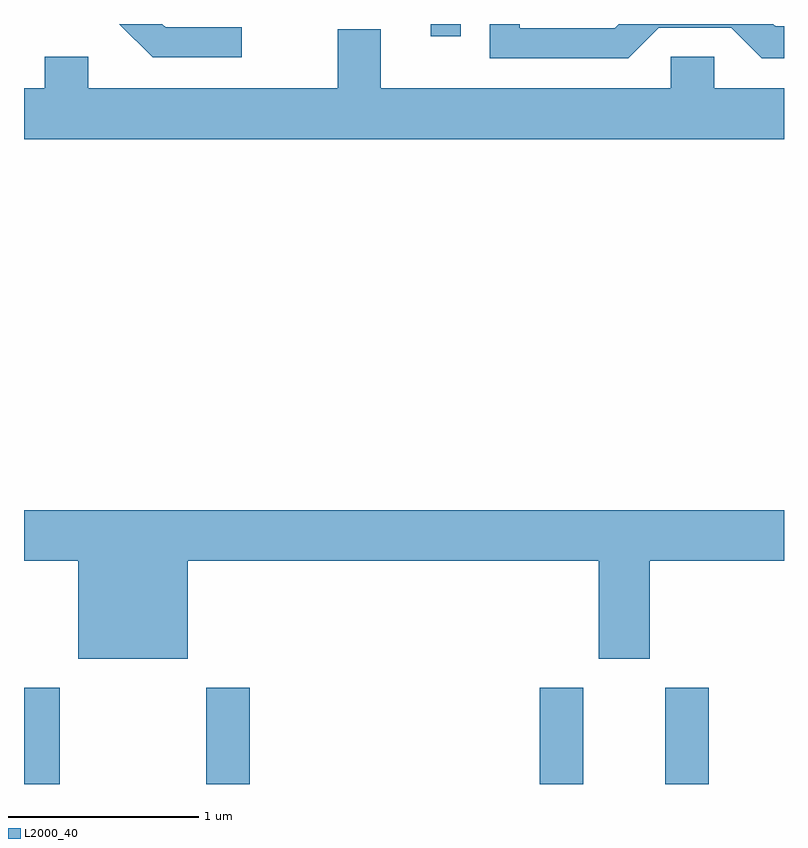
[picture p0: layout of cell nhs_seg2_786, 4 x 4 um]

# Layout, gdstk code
import gdstk
lib = gdstk.Library(unit=1e-6, precision=1e-09)
def R(c, l, rs):  # rectangles x0, y0, x1, y1
    for r in rs: c.add(gdstk.rectangle(r[:2], r[2:], *l))
def P(c, l, *ps):  # polygons
    for p in ps: c.add(gdstk.Polygon(p, *l))
L2000_40 = (2000, 40)

nhs_seg2_786 = lib.new_cell('nhs_seg2_786')
R(nhs_seg2_786, L2000_40, [(207.611,1053.802,207.799,1054.309), (208.571,1053.802,208.799,1054.309), (210.326,1053.802,210.554,1054.309), (210.986,1053.802,211.214,1054.309), (209.751,1057.738,209.909,1057.802)])
P(nhs_seg2_786, L2000_40, [(210.952,1057.781),(211.334,1057.781),(211.494,1057.621),(211.611,1057.621),(211.611,1057.789),(211.567,1057.789),(211.554,1057.802),(210.742,1057.802),(210.719,1057.779),(210.219,1057.779),(210.219,1057.802),(210.061,1057.802),(210.061,1057.621),(210.792,1057.621)],
  [(208.758,1057.784),(208.357,1057.784),(208.339,1057.802),(208.113,1057.802),(208.289,1057.626),(208.758,1057.626)],
  [(211.611,1057.464),(211.244,1057.464),(211.244,1057.629),(211.016,1057.629),(211.016,1057.464),(209.489,1057.464),(209.489,1057.774),(209.261,1057.774),(209.261,1057.464),(207.949,1057.464),(207.949,1057.629),(207.721,1057.629),(207.721,1057.464),(207.611,1057.464),(207.611,1057.196),(211.611,1057.196)],
  [(208.474,1054.976),(210.636,1054.976),(210.636,1054.461),(210.904,1054.461),(210.904,1054.976),(211.611,1054.976),(211.611,1055.244),(207.611,1055.244),(207.611,1054.976),(207.896,1054.976),(207.896,1054.461),(208.474,1054.461)])

lib.write_gds('nhs_seg2_786.gds')
